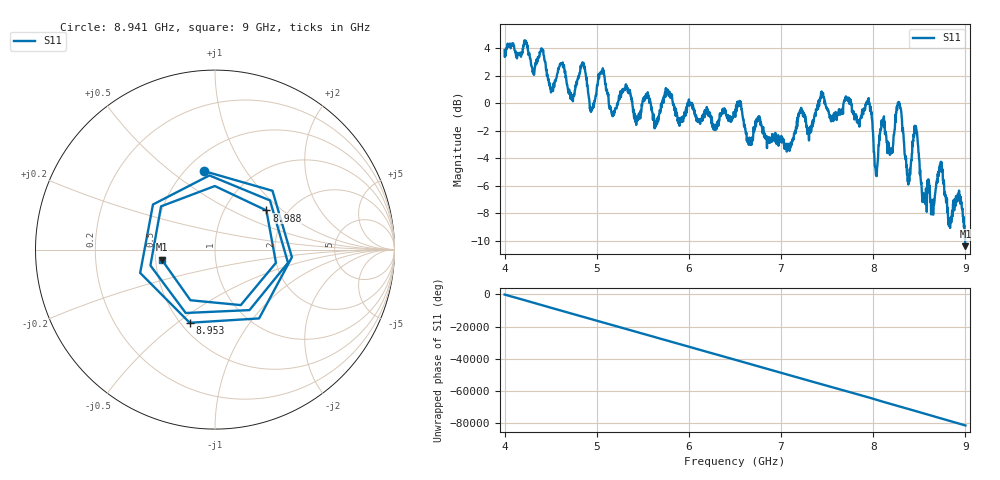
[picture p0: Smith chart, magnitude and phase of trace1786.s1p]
! Created with skrf 1.8.0 (http://scikit-rf.org).
# Hz S RI R 50.0
!freq ReS11 ImS11
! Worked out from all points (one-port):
!   1601 points, 4 GHz to 9 GHz, reference 50 ohm
!   lowest |S11| = -10.4 dB at 9 GHz (marker M1), VSWR 1.87, Z = 27 - j3.31 ohm
!   |S11| at or under -10 dB: 8.996706 GHz to end of sweep
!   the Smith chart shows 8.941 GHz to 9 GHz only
!   S11 on the Smith chart (normalised r, x): 8.941 GHz: 0.61, +0.66; 8.953 GHz: 0.55, -0.56; 8.988 GHz: 1.56, +0.78; 9 GHz: 0.54, -0.07
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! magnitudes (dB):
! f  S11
! 4 GHz  3.9
! 4.406 GHz  3.9
! 4.512 GHz  0.9
! 4.625 GHz  2.9
! 4.734 GHz  0.3
! 4.85 GHz  2.8
! 4.947 GHz  -0.5
! 5.053 GHz  2.2
! 5.162 GHz  -0.8
! 5.25 GHz  0.6
! 5.875 GHz  -1.0
! 6.5 GHz  -0.7
! 7.125 GHz  -2.7
! 7.441 GHz  0.9
! 7.75 GHz  0.3
! 7.956 GHz  0.0
! 8.031 GHz  -5.3
! 8.097 GHz  -1.4
! 8.281 GHz  0.1
! 8.375 GHz  -5.7
! 8.456 GHz  -1.7
! 8.556 GHz  -6.7
! 8.728 GHz  -4.5
! 8.828 GHz  -8.5
! 8.941 GHz  -7.1
! 8.953 GHz  -7.3
! 8.988 GHz  -8.9
! 9 GHz  -10.4
